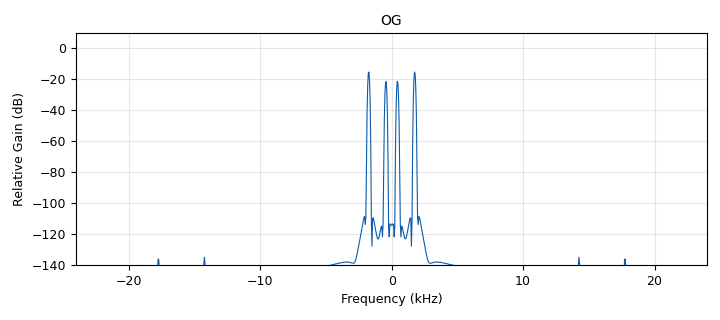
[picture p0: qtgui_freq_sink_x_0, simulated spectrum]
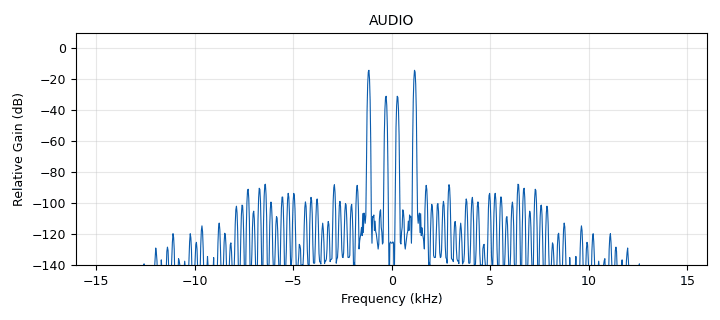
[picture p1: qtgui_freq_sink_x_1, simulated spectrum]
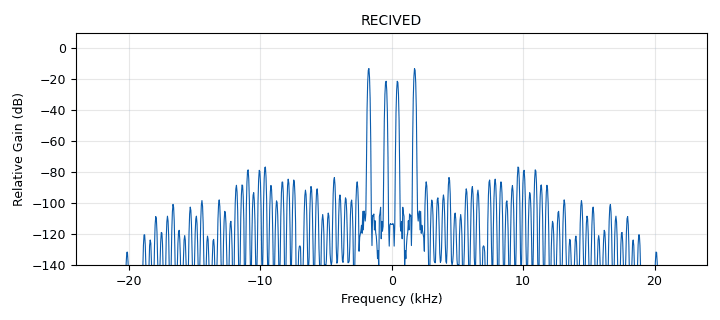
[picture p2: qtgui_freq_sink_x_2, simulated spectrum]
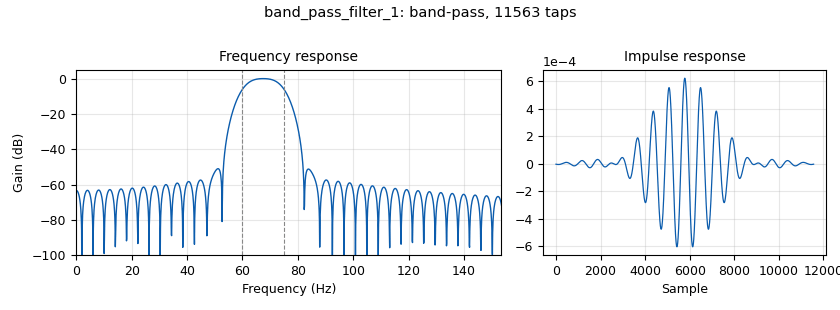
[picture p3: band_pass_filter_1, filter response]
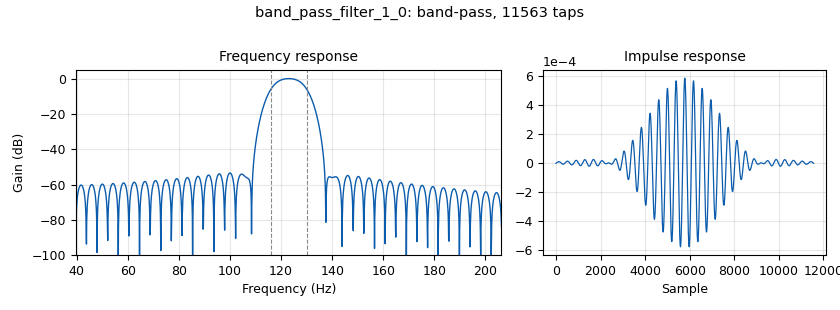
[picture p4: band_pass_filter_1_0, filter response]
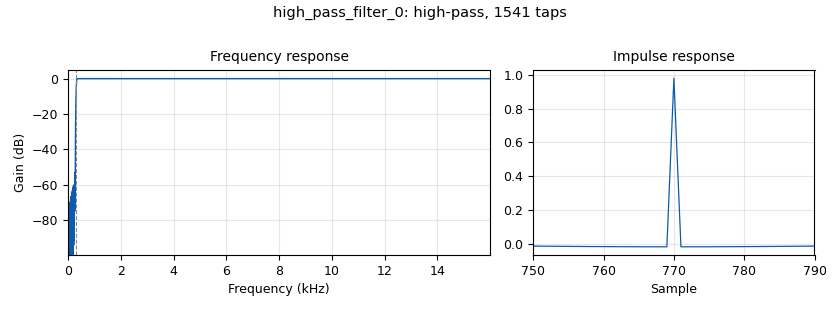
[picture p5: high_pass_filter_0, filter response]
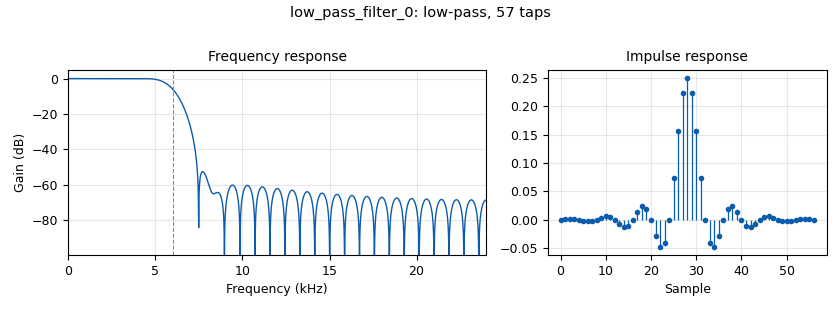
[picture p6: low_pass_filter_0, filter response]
options:
  parameters:
    author: miki
    generate_options: qt_gui
    generator_class_name: PythonQtGuiGenerator
    generator_module: gnuradio.grc.workflows.python_qt_gui
    id: part_1
    output_language: python
    title: Part 1 - Tx
  states: {}

blocks:
- name: audio_amp
  id: variable_qtgui_range
  parameters:
    start: '0'
    step: '0.01'
    stop: '1'
    value: '0.5'
  states: {}
- name: audio_rate
  id: variable
  parameters:
    value: '48000'
  states: {}
- name: control_amp
  id: variable_qtgui_range
  parameters:
    start: '0'
    step: '0.01'
    stop: '1'
    value: '1'
  states: {}
- name: ctcss_1
  id: variable
  parameters:
    value: '123'
  states: {}
- name: ctcss_2
  id: variable
  parameters:
    value: '67'
  states: {}
- name: ctss1_amp
  id: variable_qtgui_range
  parameters:
    start: '0'
    step: '0.01'
    stop: '1'
    value: '0'
  states: {}
- name: ctss2_amp
  id: variable_qtgui_range
  parameters:
    start: '0'
    step: '0.01'
    stop: '1'
    value: '0'
  states: {}
- name: fsk_deviation_hz
  id: variable
  parameters:
    value: '5000'
  states: {}
- name: iq_rate
  id: variable
  parameters:
    value: '192000'
  states: {}
- name: noise_amp
  id: variable_qtgui_range
  parameters:
    start: '0'
    step: '0.01'
    stop: '1'
    value: '0'
  states: {}
- name: samp_rate
  id: variable
  parameters:
    value: '32000'
  states: {}
- name: analog_fm_deemph_0
  id: analog_fm_deemph
  parameters:
    samp_rate: samp_rate
    tau: '75e-6'
  states: {}
- name: analog_nbfm_tx_0
  id: analog_nbfm_tx
  parameters:
    audio_rate: audio_rate
    fh: '-1.0'
    max_dev: fsk_deviation_hz
    quad_rate: iq_rate
    tau: '75e-6'
  states: {}
- name: analog_noise_source_x_0
  id: analog_noise_source_x
  parameters:
    amp: noise_amp
    noise_type: analog.GR_GAUSSIAN
    seed: '0'
    type: complex
  states: {}
- name: analog_quadrature_demod_cf_0
  id: analog_quadrature_demod_cf
  parameters:
    gain: iq_rate/(2*math.pi*fsk_deviation_hz)
  states: {}
- name: analog_sig_source_x_0
  id: analog_sig_source_x
  parameters:
    amp: ctss1_amp
    freq: ctcss_1
    offset: '0'
    phase: '0'
    samp_rate: audio_rate
    type: float
    waveform: analog.GR_COS_WAVE
  states: {}
- name: analog_sig_source_x_0_0
  id: analog_sig_source_x
  parameters:
    amp: ctss2_amp
    freq: ctcss_2
    offset: '0'
    phase: '0'
    samp_rate: audio_rate
    type: float
    waveform: analog.GR_COS_WAVE
  states: {}
- name: analog_sig_source_x_1
  id: analog_sig_source_x
  parameters:
    amp: audio_amp
    freq: '440'
    offset: '0'
    phase: '0'
    samp_rate: audio_rate
    type: float
    waveform: analog.GR_COS_WAVE
  states: {}
- name: analog_sig_source_x_2
  id: analog_sig_source_x
  parameters:
    amp: control_amp
    freq: '1750'
    offset: '0'
    phase: '0'
    samp_rate: audio_rate
    type: float
    waveform: analog.GR_COS_WAVE
  states: {}
- name: audio_sink_0
  id: audio_sink
  parameters:
    samp_rate: '48000'
  states: {state: disabled}
- name: band_pass_filter_0
  id: band_pass_filter
  parameters:
    decim: '1'
    gain: '100'
    high_cutoff_freq: 123+5
    low_cutoff_freq: 123-5
    samp_rate: samp_rate
    type: fir_filter_fcc
    width: '10'
    win: window.WIN_HAMMING
  states: {state: disabled}
- name: band_pass_filter_1
  id: band_pass_filter
  parameters:
    decim: '1'
    gain: '1'
    high_cutoff_freq: '75'
    low_cutoff_freq: '60'
    samp_rate: audio_rate
    type: fir_filter_fff
    width: '10'
    win: window.WIN_HAMMING
  states: {}
- name: band_pass_filter_1_0
  id: band_pass_filter
  parameters:
    decim: '1'
    gain: '1'
    high_cutoff_freq: '130'
    low_cutoff_freq: '116'
    samp_rate: audio_rate
    type: fir_filter_fff
    width: '10'
    win: window.WIN_HAMMING
  states: {}
- name: blocks_add_xx_0
  id: blocks_add_xx
  parameters:
    num_inputs: '4'
    type: float
  states: {}
- name: blocks_add_xx_2
  id: blocks_add_xx
  parameters:
    type: complex
  states: {}
- name: blocks_complex_to_mag_squared_0
  id: blocks_complex_to_mag_squared
  parameters: {}
  states: {state: disabled}
- name: blocks_rms_xx_0
  id: blocks_rms_xx
  parameters:
    alpha: '0.0001'
    type: float
  states: {}
- name: blocks_rms_xx_0_0
  id: blocks_rms_xx
  parameters:
    alpha: '0.0001'
    type: float
  states: {}
- name: blocks_threshold_ff_0
  id: blocks_threshold_ff
  parameters:
    high: '0.0001'
    init: '0'
    low: '0.00005'
  states: {state: disabled}
- name: blocks_threshold_ff_0_0
  id: blocks_threshold_ff
  parameters:
    high: '0.1'
    init: '0'
    low: '0.05'
  states: {}
- name: blocks_threshold_ff_0_0_0
  id: blocks_threshold_ff
  parameters:
    high: '0.1'
    init: '0'
    low: '0.05'
  states: {}
- name: blocks_throttle2_0
  id: blocks_throttle2
  parameters:
    samples_per_second: iq_rate
    type: complex
  states: {}
- name: high_pass_filter_0
  id: high_pass_filter
  parameters:
    cutoff_freq: '300'
    decim: '1'
    gain: '1'
    samp_rate: samp_rate
    type: fir_filter_fff
    width: '50'
    win: window.WIN_HAMMING
  states: {}
- name: low_pass_filter_0
  id: low_pass_filter
  parameters:
    cutoff_freq: 6e3
    decim: '1'
    gain: '1'
    samp_rate: audio_rate
    type: fir_filter_ccf
    width: 2e3
    win: window.WIN_HAMMING
  states: {}
- name: low_pass_filter_1
  id: low_pass_filter
  parameters:
    cutoff_freq: '260'
    decim: '1'
    gain: '1'
    samp_rate: samp_rate
    type: fir_filter_fff
    width: '50'
    win: window.WIN_HAMMING
  states: {}
- name: note_0
  id: note
  parameters:
    note: not used right now
  states: {}
- name: qtgui_freq_sink_x_0
  id: qtgui_freq_sink_x
  parameters:
    bw: audio_rate
    fc: '0'
    fftsize: '1024'
    name: '"OG"'
    type: float
  states: {}
- name: qtgui_freq_sink_x_1
  id: qtgui_freq_sink_x
  parameters:
    bw: samp_rate
    fc: '0'
    fftsize: '1024'
    name: '"AUDIO"'
    type: float
  states: {}
- name: qtgui_freq_sink_x_2
  id: qtgui_freq_sink_x
  parameters:
    bw: audio_rate
    fc: '0'
    fftsize: '1024'
    name: '"RECIVED"'
    type: float
  states: {}
- name: qtgui_freq_sink_x_3
  id: qtgui_freq_sink_x
  parameters:
    bw: samp_rate
    fc: '0'
    fftsize: '1024'
    type: float
  states: {state: disabled}
- name: qtgui_number_sink_0
  id: qtgui_number_sink
  parameters:
    graph_type: qtgui.NUM_GRAPH_HORIZ
    name: '"CTCSS_2"'
    type: float
  states: {}
- name: qtgui_number_sink_0_0
  id: qtgui_number_sink
  parameters:
    graph_type: qtgui.NUM_GRAPH_HORIZ
    name: '"CTCSS_1"'
    type: float
  states: {}
- name: qtgui_number_sink_1
  id: qtgui_number_sink
  parameters:
    graph_type: qtgui.NUM_GRAPH_HORIZ
    type: float
  states: {state: disabled}
- name: rational_resampler_xxx_0
  id: rational_resampler_xxx
  parameters:
    decim: '4'
    interp: '1'
    type: fff
  states: {}
- name: single_pole_iir_filter_xx_0
  id: single_pole_iir_filter_xx
  parameters:
    alpha: '0.05'
    type: float
  states: {state: disabled}

connections:
- [analog_fm_deemph_0, '0', qtgui_freq_sink_x_1, '0']
- [analog_nbfm_tx_0, '0', blocks_throttle2_0, '0']
- [analog_noise_source_x_0, '0', blocks_add_xx_2, '0']
- [analog_quadrature_demod_cf_0, '0', rational_resampler_xxx_0, '0']
- [analog_sig_source_x_0, '0', blocks_add_xx_0, '0']
- [analog_sig_source_x_0_0, '0', blocks_add_xx_0, '1']
- [analog_sig_source_x_1, '0', blocks_add_xx_0, '2']
- [analog_sig_source_x_2, '0', blocks_add_xx_0, '3']
- [band_pass_filter_0, '0', blocks_complex_to_mag_squared_0, '0']
- [band_pass_filter_1, '0', blocks_rms_xx_0, '0']
- [band_pass_filter_1_0, '0', blocks_rms_xx_0_0, '0']
- [blocks_add_xx_0, '0', analog_nbfm_tx_0, '0']
- [blocks_add_xx_0, '0', audio_sink_0, '0']
- [blocks_add_xx_0, '0', qtgui_freq_sink_x_0, '0']
- [blocks_add_xx_2, '0', low_pass_filter_0, '0']
- [blocks_complex_to_mag_squared_0, '0', single_pole_iir_filter_xx_0, '0']
- [blocks_rms_xx_0, '0', blocks_threshold_ff_0_0, '0']
- [blocks_rms_xx_0_0, '0', blocks_threshold_ff_0_0_0, '0']
- [blocks_threshold_ff_0, '0', qtgui_number_sink_1, '0']
- [blocks_threshold_ff_0_0, '0', qtgui_number_sink_0, '0']
- [blocks_threshold_ff_0_0_0, '0', qtgui_number_sink_0_0, '0']
- [blocks_throttle2_0, '0', blocks_add_xx_2, '1']
- [high_pass_filter_0, '0', analog_fm_deemph_0, '0']
- [low_pass_filter_0, '0', analog_quadrature_demod_cf_0, '0']
- [low_pass_filter_1, '0', band_pass_filter_1, '0']
- [low_pass_filter_1, '0', band_pass_filter_1_0, '0']
- [rational_resampler_xxx_0, '0', band_pass_filter_0, '0']
- [rational_resampler_xxx_0, '0', high_pass_filter_0, '0']
- [rational_resampler_xxx_0, '0', low_pass_filter_1, '0']
- [rational_resampler_xxx_0, '0', qtgui_freq_sink_x_2, '0']
- [single_pole_iir_filter_xx_0, '0', blocks_threshold_ff_0, '0']
- [single_pole_iir_filter_xx_0, '0', qtgui_freq_sink_x_3, '0']

metadata:
  file_format: 1
  grc_version: 3.10.12.0
